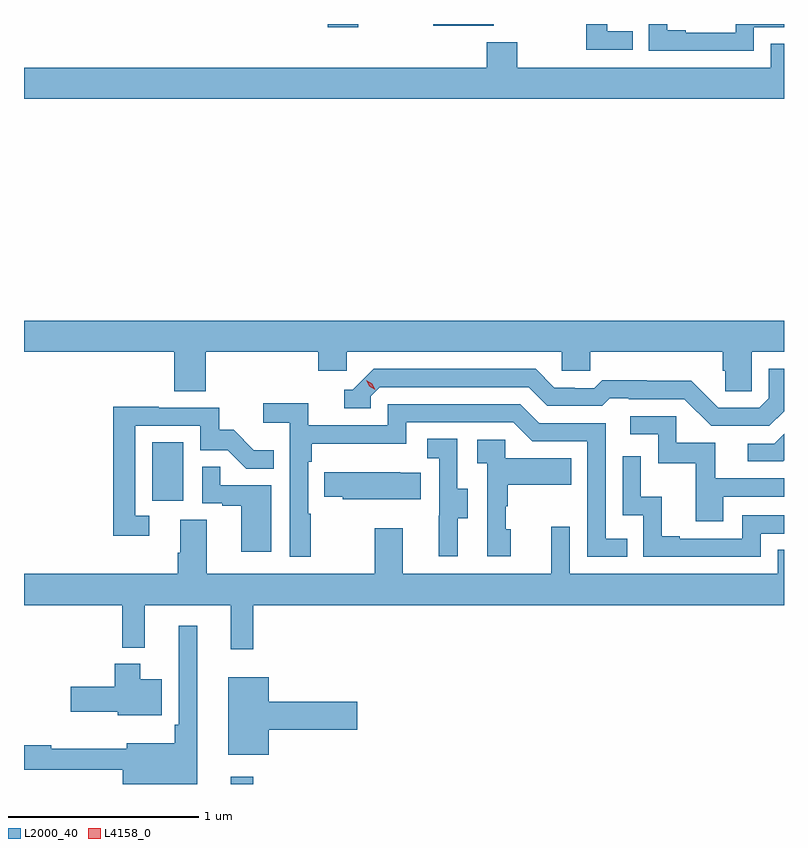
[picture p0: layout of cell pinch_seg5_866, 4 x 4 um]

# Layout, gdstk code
import gdstk
lib = gdstk.Library(unit=1e-6, precision=1e-09)
def R(c, l, rs):  # rectangles x0, y0, x1, y1
    for r in rs: c.add(gdstk.rectangle(r[:2], r[2:], *l))
def P(c, l, *ps):  # polygons
    for p in ps: c.add(gdstk.Polygon(p, *l))
L2000_40 = (2000, 40)
L4158_0 = (4158, 0)

pinch_seg5_866 = lib.new_cell('pinch_seg5_866')
R(pinch_seg5_866, L2000_40, [(831.512,890.45,831.629,890.488), (831.098,891.942,831.262,892.249), (832.022,894.432,832.183,894.45), (832.577,894.44,832.895,894.45)])
P(pinch_seg5_866, L2000_40, [(834.264,894.432),(834.423,894.432),(834.423,894.45),(834.168,894.45),(834.168,894.405),(833.905,894.405),(833.905,894.418),(833.809,894.418),(833.809,894.45),(833.712,894.45),(833.712,894.309),(834.264,894.309)],
  [(833.627,894.412),(833.493,894.412),(833.493,894.45),(833.382,894.45),(833.382,894.315),(833.627,894.315)],
  [(834.423,894.347),(834.354,894.347),(834.354,894.22),(833.019,894.22),(833.019,894.355),(832.859,894.355),(832.859,894.22),(830.423,894.22),(830.423,894.056),(834.423,894.056)],
  [(831.38,892.724),(831.971,892.724),(831.971,892.626),(832.122,892.626),(832.122,892.724),(833.253,892.724),(833.253,892.626),(833.403,892.626),(833.403,892.724),(834.101,892.724),(834.101,892.626),(834.115,892.626),(834.115,892.516),(834.252,892.516),(834.252,892.724),(834.423,892.724),(834.423,892.888),(830.423,892.888),(830.423,892.724),(831.215,892.724),(831.215,892.516),(831.38,892.516)],
  [(834.423,892.413),(834.423,892.635),(834.342,892.635),(834.342,892.479),(834.294,892.431),(834.078,892.431),(833.936,892.573),(833.7,892.573),(833.7,892.576),(833.467,892.576),(833.425,892.533),(833.322,892.533),(833.322,892.536),(833.215,892.536),(833.116,892.635),(832.263,892.635),(832.152,892.524),(832.109,892.524),(832.109,892.428),(832.248,892.428),(832.248,892.491),(832.296,892.539),(833.079,892.539),(833.178,892.44),(833.467,892.44),(833.506,892.479),(833.605,892.479),(833.605,892.476),(833.898,892.476),(834.039,892.335),(834.345,892.335)],
  [(831.931,891.872),(831.918,891.872),(831.918,892.145),(831.938,892.145),(831.938,892.241),(832.434,892.241),(832.434,892.353),(832.998,892.353),(833.097,892.254),(833.388,892.254),(833.388,891.645),(833.597,891.645),(833.597,891.741),(833.484,891.741),(833.484,892.35),(833.134,892.35),(833.035,892.449),(832.338,892.449),(832.338,892.338),(831.92,892.338),(831.92,892.454),(831.681,892.454),(831.681,892.352),(831.822,892.352),(831.822,891.645),(831.931,891.645)],
  [(831.082,891.861),(831.009,891.861),(831.009,892.335),(831.351,892.335),(831.351,892.206),(831.495,892.206),(831.593,892.108),(831.737,892.108),(831.737,892.207),(831.633,892.207),(831.526,892.314),(831.45,892.314),(831.45,892.431),(831.131,892.431),(831.131,892.436),(830.893,892.436),(830.893,891.756),(831.082,891.756)],
  [(834.103,891.963),(834.423,891.963),(834.423,892.059),(834.061,892.059),(834.061,892.245),(833.856,892.245),(833.856,892.386),(833.613,892.386),(833.613,892.29),(833.76,892.29),(833.76,892.137),(833.959,892.137),(833.959,891.834),(834.103,891.834)],
  [(834.423,892.154),(834.423,892.293),(834.372,892.242),(834.231,892.242),(834.231,892.149),(834.418,892.149)],
  [(832.705,891.85),(832.759,891.85),(832.759,892.005),(832.704,892.005),(832.704,892.268),(832.545,892.268),(832.545,892.165),(832.608,892.165),(832.608,891.861),(832.607,891.861),(832.607,891.648),(832.705,891.648)],
  [(832.984,891.792),(832.959,891.792),(832.959,891.911),(832.969,891.911),(832.969,892.025),(833.303,892.025),(833.303,892.165),(832.956,892.165),(832.956,892.263),(832.809,892.263),(832.809,892.139),(832.86,892.139),(832.86,891.648),(832.984,891.648)],
  [(834.3,891.768),(834.423,891.768),(834.423,891.864),(834.204,891.864),(834.204,891.741),(833.875,891.741),(833.875,891.754),(833.78,891.754),(833.78,891.962),(833.67,891.962),(833.67,892.174),(833.574,892.174),(833.574,891.864),(833.682,891.864),(833.682,891.645),(834.3,891.645)],
  [(831.724,892.023),(831.455,892.023),(831.455,892.121),(831.36,892.121),(831.36,891.927),(831.467,891.927),(831.467,891.915),(831.566,891.915),(831.566,891.672),(831.724,891.672)],
  [(832.511,892.087),(832.403,892.087),(832.403,892.09),(832.003,892.09),(832.003,891.961),(832.101,891.961),(832.101,891.95),(832.511,891.95)],
  [(831.629,891.392),(834.423,891.392),(834.423,891.683),(834.39,891.683),(834.39,891.556),(833.295,891.556),(833.295,891.805),(833.198,891.805),(833.198,891.556),(832.417,891.556),(832.417,891.796),(832.27,891.796),(832.27,891.556),(831.385,891.556),(831.385,891.842),(831.245,891.842),(831.245,891.668),(831.233,891.668),(831.233,891.556),(830.423,891.556),(830.423,891.392),(830.941,891.392),(830.941,891.167),(831.059,891.167),(831.059,891.392),(831.512,891.392),(831.512,891.159),(831.629,891.159)],
  [(831.334,891.283),(831.237,891.283),(831.237,890.761),(831.217,890.761),(831.217,890.665),(830.963,890.665),(830.963,890.636),(830.567,890.636),(830.567,890.654),(830.423,890.654),(830.423,890.526),(830.944,890.526),(830.944,890.45),(831.334,890.45)],
  [(831.148,891.001),(831.034,891.001),(831.034,891.082),(830.9,891.082),(830.9,890.961),(830.67,890.961),(830.67,890.831),(830.916,890.831),(830.916,890.813),(831.148,890.813)],
  [(831.712,890.735),(832.177,890.735),(832.177,890.882),(831.712,890.882),(831.712,891.013),(831.497,891.013),(831.497,890.603),(831.712,890.603)])
P(pinch_seg5_866, L4158_0, [(832.271,892.524),(832.24,892.543),(832.224,892.576),(832.224,892.576),(832.224,892.576),(832.255,892.557),(832.271,892.524),(832.271,892.524)])

lib.write_gds('pinch_seg5_866.gds')
